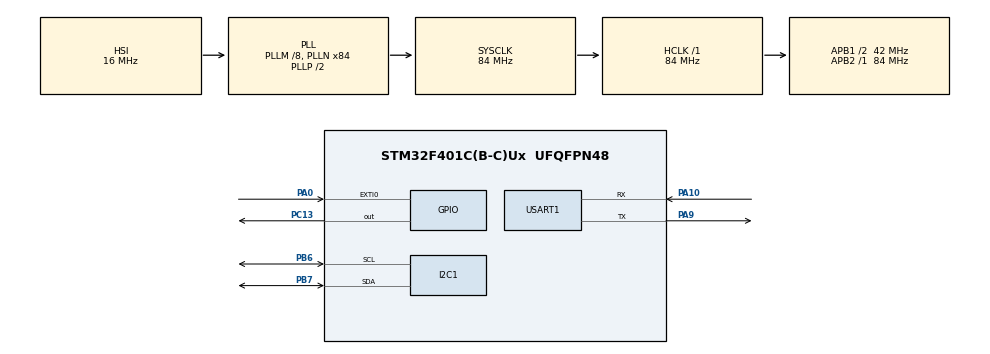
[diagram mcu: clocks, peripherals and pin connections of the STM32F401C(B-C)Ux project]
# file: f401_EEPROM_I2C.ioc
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I2C1.I2C_Mode=I2C_Fast
Mcu.Family=STM32F4
Mcu.Name=STM32F401C(B-C)Ux
Mcu.Package=UFQFPN48
NVIC.EXTI0_IRQn=true\:0\:0\:false\:false\:true\:true\:true\:true
NVIC.I2C1_ER_IRQn=true\:0\:0\:false\:false\:true\:true\:true\:true
NVIC.I2C1_EV_IRQn=true\:0\:0\:false\:false\:true\:true\:true\:true
NVIC.PriorityGroup=NVIC_PRIORITYGROUP_4
NVIC.TIM1_UP_TIM10_IRQn=true\:15\:0\:false\:false\:true\:false\:true\:true
NVIC.TimeBase=TIM1_UP_TIM10_IRQn
NVIC.TimeBaseIP=TIM1
NVIC.USART1_IRQn=true\:0\:0\:false\:false\:true\:true\:true\:true
PA0-WKUP.Signal=GPXTI0
PA10.Mode=Asynchronous
PA10.Signal=USART1_RX
PA9.Mode=Asynchronous
PA9.Signal=USART1_TX
PB6.Mode=I2C
PB6.Signal=I2C1_SCL
PB7.Mode=I2C
PB7.Signal=I2C1_SDA
PC13-ANTI_TAMP.Signal=GPIO_Output
PH0\ -\ OSC_IN.Mode=HSE-External-Oscillator
PH0\ -\ OSC_IN.Signal=RCC_OSC_IN
PH1\ -\ OSC_OUT.Mode=HSE-External-Oscillator
PH1\ -\ OSC_OUT.Signal=RCC_OSC_OUT
ProjectManager.HeapSize=0x200
ProjectManager.StackSize=0x400
ProjectManager.TargetToolchain=STM32CubeIDE
RCC.48MHZClocksFreq_Value=42000000
RCC.AHBFreq_Value=84000000
RCC.APB1CLKDivider=RCC_HCLK_DIV2
RCC.APB1Freq_Value=42000000
RCC.APB1TimFreq_Value=84000000
RCC.APB2Freq_Value=84000000
RCC.APB2TimFreq_Value=84000000
RCC.CortexFreq_Value=84000000
RCC.HCLKFreq_Value=84000000
RCC.HSE_VALUE=25000000
RCC.HSI_VALUE=16000000
RCC.LSE_VALUE=32768
RCC.PLLM=8
RCC.PLLN=84
RCC.SYSCLKFreq_VALUE=84000000
RCC.SYSCLKSource=RCC_SYSCLKSOURCE_PLLCLK
RCC.VCOOutputFreq_Value=168000000
USART1.VirtualMode=VM_ASYNC
VP_SYS_VS_tim1.Mode=TIM1
board=custom

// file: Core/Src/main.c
/* USER CODE BEGIN Header */
/**
  ******************************************************************************
  * @file           : main.c
  * @brief          : Main program body
  ******************************************************************************
  * @attention
  *
  * Copyright (c) 2022 STMicroelectronics.
  * All rights reserved.
  *
  * This software is licensed under terms that can be found in the LICENSE file
  * in the root directory of this software component.
  * If no LICENSE file comes with this software, it is provided AS-IS.
  *
  ******************************************************************************
  */
/* USER CODE END Header */
#include "main.h"

/* USER CODE BEGIN Includes */
#include <stdio.h>
#include "UART_config.h"
#include "AT24C256.h"
/* USER CODE END Includes */

 I2C_HandleTypeDef hi2c1;

UART_HandleTypeDef huart1;

void SystemClock_Config(void);
static void MX_GPIO_Init(void);
static void MX_I2C1_Init(void);
static void MX_USART1_UART_Init(void);

int main(void)
{

  /* MCU Configuration--------------------------------------------------------*/

  /* Reset of all peripherals, Initializes the Flash interface and the Systick. */
  HAL_Init();

  /* Configure the system clock */
  SystemClock_Config();

  /* Initialize all configured peripherals */
  MX_GPIO_Init();
  MX_I2C1_Init();
  MX_USART1_UART_Init();

  /* Infinite loop */
  /* USER CODE BEGIN WHILE */
  printf("Start work with AT24C256\r\n\r\n");
  uint8_t status;
  status = at24_check_connect();
  printf("status at24: 0x%x\r\n", status);

  uint8_t wr_byte = 123, result = 0;
  //AT24_WriteByte(0x3, wr_byte);
  AT24_WriteByte(1, 0, wr_byte);
  AT24_ReadByte(1, 0, &result);
  printf("result: %d\r\n", result);
  AT24_WriteByte_GlobalAddr(50, 54);
  AT24_ReadByte_GlobalAddr(50, &result);
  printf("result: %d\r\n", result);
  uint32_t write_uint32 = 0xABCDE, read_uint32 = 1;
  AT24_PutData(10, 0, &write_uint32, sizeof(write_uint32));
  AT24_PrintfPage(10, 0);
  AT24_GetData(10, 0, &read_uint32, sizeof(write_uint32));
  printf("Read uint32_t : 0x%x\r\n", read_uint32);

  AT24_Erase_Page(1);
  AT24_PrintfPage(1, 0);
  uint8_t array[16];
  for (uint8_t i = 0; i < 16; i++){
	  array[i] = i * 2;
  }
  AT24_PutData(12, 0, array, 16);
  AT24_PrintfPage(12, 0);
  while (1)
  {
    /* USER CODE END WHILE */

  }
}

void SystemClock_Config(void)
{
  RCC_OscInitTypeDef RCC_OscInitStruct = {0};
  RCC_ClkInitTypeDef RCC_ClkInitStruct = {0};

  /** Configure the main internal regulator output voltage
  */
  __HAL_RCC_PWR_CLK_ENABLE();
  __HAL_PWR_VOLTAGESCALING_CONFIG(PWR_REGULATOR_VOLTAGE_SCALE2);

  /** Initializes the RCC Oscillators according to the specified parameters
  * in the RCC_OscInitTypeDef structure.
  */
  RCC_OscInitStruct.OscillatorType = RCC_OSCILLATORTYPE_HSI;
  RCC_OscInitStruct.HSIState = RCC_HSI_ON;
  RCC_OscInitStruct.HSICalibrationValue = RCC_HSICALIBRATION_DEFAULT;
  RCC_OscInitStruct.PLL.PLLState = RCC_PLL_ON;
  RCC_OscInitStruct.PLL.PLLSource = RCC_PLLSOURCE_HSI;
  RCC_OscInitStruct.PLL.PLLM = 8;
  RCC_OscInitStruct.PLL.PLLN = 84;
  RCC_OscInitStruct.PLL.PLLP = RCC_PLLP_DIV2;
  RCC_OscInitStruct.PLL.PLLQ = 4;
  if (HAL_RCC_OscConfig(&RCC_OscInitStruct) != HAL_OK)
  {
    Error_Handler();
  }

  /** Initializes the CPU, AHB and APB buses clocks
  */
  RCC_ClkInitStruct.ClockType = RCC_CLOCKTYPE_HCLK|RCC_CLOCKTYPE_SYSCLK
                              |RCC_CLOCKTYPE_PCLK1|RCC_CLOCKTYPE_PCLK2;
  RCC_ClkInitStruct.SYSCLKSource = RCC_SYSCLKSOURCE_PLLCLK;
  RCC_ClkInitStruct.AHBCLKDivider = RCC_SYSCLK_DIV1;
  RCC_ClkInitStruct.APB1CLKDivider = RCC_HCLK_DIV2;
  RCC_ClkInitStruct.APB2CLKDivider = RCC_HCLK_DIV1;

  if (HAL_RCC_ClockConfig(&RCC_ClkInitStruct, FLASH_LATENCY_2) != HAL_OK)
  {
    Error_Handler();
  }
}

static void MX_I2C1_Init(void)
{

  hi2c1.Instance = I2C1;
  hi2c1.Init.ClockSpeed = 400000;
  hi2c1.Init.DutyCycle = I2C_DUTYCYCLE_2;
  hi2c1.Init.OwnAddress1 = 0;
  hi2c1.Init.AddressingMode = I2C_ADDRESSINGMODE_7BIT;
  hi2c1.Init.DualAddressMode = I2C_DUALADDRESS_DISABLE;
  hi2c1.Init.OwnAddress2 = 0;
  hi2c1.Init.GeneralCallMode = I2C_GENERALCALL_DISABLE;
  hi2c1.Init.NoStretchMode = I2C_NOSTRETCH_DISABLE;
  if (HAL_I2C_Init(&hi2c1) != HAL_OK)
  {
    Error_Handler();
  }

}

static void MX_USART1_UART_Init(void)
{

  huart1.Instance = USART1;
  huart1.Init.BaudRate = 115200;
  huart1.Init.WordLength = UART_WORDLENGTH_8B;
  huart1.Init.StopBits = UART_STOPBITS_1;
  huart1.Init.Parity = UART_PARITY_NONE;
  huart1.Init.Mode = UART_MODE_TX_RX;
  huart1.Init.HwFlowCtl = UART_HWCONTROL_NONE;
  huart1.Init.OverSampling = UART_OVERSAMPLING_16;
  if (HAL_UART_Init(&huart1) != HAL_OK)
  {
    Error_Handler();
  }

}

static void MX_GPIO_Init(void)
{
  GPIO_InitTypeDef GPIO_InitStruct = {0};

  /* GPIO Ports Clock Enable */
  __HAL_RCC_GPIOC_CLK_ENABLE();
  __HAL_RCC_GPIOH_CLK_ENABLE();
  __HAL_RCC_GPIOA_CLK_ENABLE();
  __HAL_RCC_GPIOB_CLK_ENABLE();

  /*Configure GPIO pin Output Level */
  HAL_GPIO_WritePin(GPIOC, GPIO_PIN_13, GPIO_PIN_RESET);

  /*Configure GPIO pin : PC13 */
  GPIO_InitStruct.Pin = GPIO_PIN_13;
  GPIO_InitStruct.Mode = GPIO_MODE_OUTPUT_PP;
  GPIO_InitStruct.Pull = GPIO_NOPULL;
  GPIO_InitStruct.Speed = GPIO_SPEED_FREQ_LOW;
  HAL_GPIO_Init(GPIOC, &GPIO_InitStruct);

  /*Configure GPIO pin : PA0 */
  GPIO_InitStruct.Pin = GPIO_PIN_0;
  GPIO_InitStruct.Mode = GPIO_MODE_IT_RISING;
  GPIO_InitStruct.Pull = GPIO_NOPULL;
  HAL_GPIO_Init(GPIOA, &GPIO_InitStruct);

  /* EXTI interrupt init*/
  HAL_NVIC_SetPriority(EXTI0_IRQn, 0, 0);
  HAL_NVIC_EnableIRQ(EXTI0_IRQn);

}

void HAL_TIM_PeriodElapsedCallback(TIM_HandleTypeDef *htim)
{
  if (htim->Instance == TIM1) {
    HAL_IncTick();
  }
}

void Error_Handler(void)
{
  __disable_irq();
  while (1)
  {
  }
}
